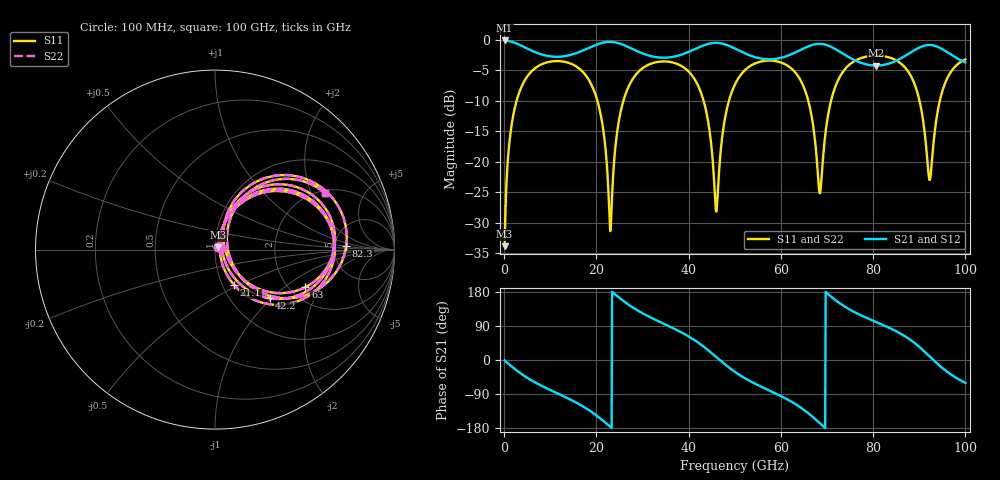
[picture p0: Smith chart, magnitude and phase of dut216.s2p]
! Touchstone file exported from HFSS 2026.1.0
!  File:  C:/ffzhzh/LocalFiles/Ansys_Project_Files/temp_train_TSV_RDL_216_1783661602_26216.aedt
!  Generated:  01:41:55 PM Jul 10, 2026
!  Design:  TSV_RDL
!  Project:  temp_train_TSV_RDL_216_1783661602_26216
! Variables:
!  h_bsmrdl = 4.49um
!  h_ox = 20um
!  h_rdl = 5um
!  h_sub = 68.7um
!  h_tmrdl = 3.72um
!  h_tsv = 68.7um
!  h_via = 3um
!  l_bsmrdl = 286.33um
!  l_sub = 2606.6um
!  l_tmrdl = 316.78um
!  m_sub = 200um
!  pitch = 58.18um
!  r_tsv = 7.18um
!  s_tmrdl = 10um
!  w_bsmrdl = 13.23um
!  w_sub = 500um
!  w_tmrdl = 13.6um
!  x_tsv_center1 = 323.58um
!  x_tsv_center2 = 623.14um
!  x_tsv_center3 = 953.52um
!  x_tsv_center4 = 1253.08um
!  x_tsv_center5 = 1583.46um
!  x_tsv_center6 = 1883.02um
# GHz S MA R 50.000000
! Terminal data exported
! Port[1] = TM_RDL1_1_T1
! Port[2] = TM_RDL5_1_T1
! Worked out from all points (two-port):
!   1000 points, 100 MHz to 100 GHz, reference 50 ohm
!   highest |S21| = -0.14 dB at 100 MHz (marker M1); lowest = -4.2 dB at 80.6 GHz (marker M2)
!   |S21| within 3 dB of the highest: start of sweep to 55.97 GHz; 59 GHz to 75.38 GHz (16.38 GHz wide, 24.4 % of centre) (the widest 2 of 3)
!   lowest |S11| = -33.8 dB at 100 MHz (marker M3), VSWR 1.04, Z = 51.6 + j1.33 ohm
!   |S11| at or under -10 dB: 20.21 GHz to 25.86 GHz (5.651 GHz wide, 24.5 % of centre); 43.23 GHz to 48.74 GHz (5.514 GHz wide, 12 % of centre); 65.93 GHz to 70.88 GHz (4.948 GHz wide, 7.23 % of centre) (the widest 3 of 5)
!   |S22| runs from -33.8 to -2.6 dB; largest |S21 - S12| = 1.7e-14
!   S11 on the Smith chart (normalised r, x): 100 MHz: 1.03, +0.03; 21.1 GHz: 1.14, -0.47; 42.2 GHz: 1.49, -0.97; 63 GHz: 2.42, -1.44; 82.3 GHz: 6.38, +0.62; 100 GHz: 2.11, +2.52
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0.1  0.02038 39.1  0.9844 -1.1  0.9844 -1.1  0.02038 39.1
! Gamma 0 0 0 0
! Port Impedance 50 0 50 0
1.5  0.1868 68.7  0.9641 -15.6  0.9641 -15.6  0.1868 68.7
4.1  0.4374 47.6  0.8782 -39.7  0.8782 -39.7  0.4374 47.6
16.8  0.5567 -30.1  0.8062 -120.4  0.8062 -120.4  0.5567 -30.1
21.1  0.2255 -61.5  0.9387 -156.8  0.9387 -156.8  0.2255 -61.5
23.1  0.02837 20.5  0.9591 -177.0  0.9591 -177.0  0.02825 20.6
26.2  0.3474 57.9  0.8944 152.8  0.8944 152.8  0.3473 58.0
33.4  0.6578 11.5  0.7151 102.6  0.7151 102.6  0.6578 11.5
42.2  0.4075 -41.7  0.8648 44.8  0.8648 44.8  0.4075 -41.7
46  0.03909 8.2  0.941 7.7  0.941 7.7  0.0396 8.2
50.1  0.4342 53.4  0.8431 -31.8  0.8431 -31.8  0.4343 53.4
63  0.5451 -22.6  0.7809 -115.2  0.7809 -115.2  0.5451 -22.7
66.7  0.2318 -46.2  0.9018 -148.1  0.9018 -148.1  0.2316 -46.4
68.5  0.05538 19.2  0.9229 -167.4  0.9229 -167.4  0.05403 19.3
72.2  0.4485 58.2  0.8204 154.7  0.8204 154.7  0.4482 58.4
80.6  0.7396 10.0  0.6134 100.5  0.6134 100.5  0.7395 10.1
82.3  0.7314 1.8  0.6216 91.5  0.6216 91.5  0.7313 1.9
83.4  0.716 -3.8  0.6364 85.4  0.6364 85.4  0.716 -3.6
89.1  0.4203 -38.8  0.8254 43.8  0.8254 43.8  0.4204 -38.6
92.3  0.07109 13.9  0.9037 8.8  0.9037 8.8  0.07201 14.0
95.1  0.3894 58.3  0.8312 -22.1  0.8312 -22.1  0.3896 58.3
100  0.6885 27.2  0.6514 -60.3  0.6514 -60.3  0.6886 27.3
